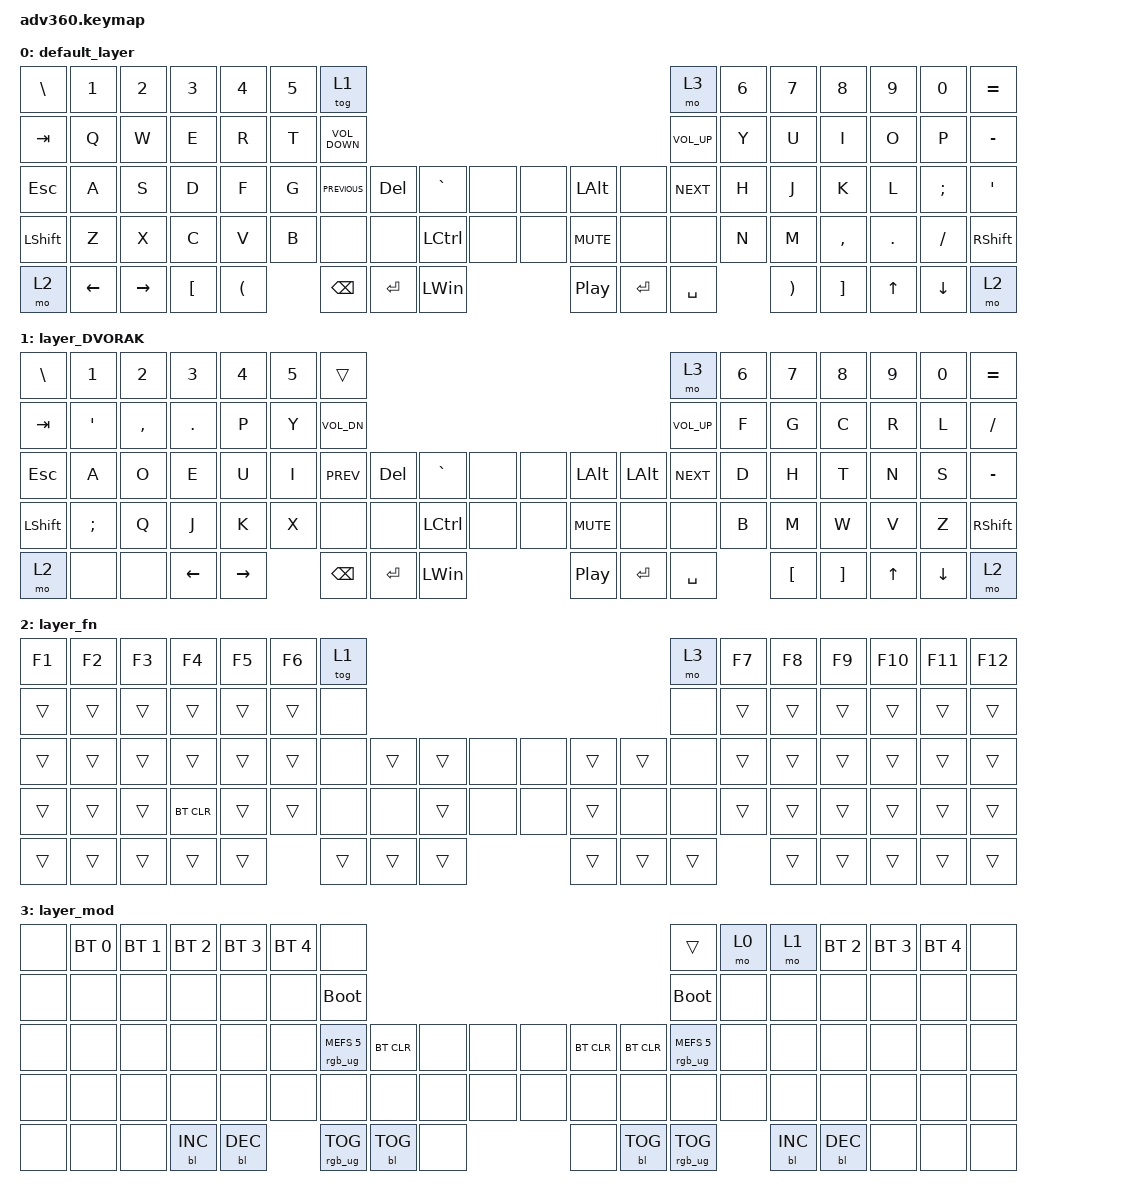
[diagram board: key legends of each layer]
/*
 * Copyright (c) 2020 The ZMK Contributors
 *
 * SPDX-License-Identifier: MIT
 */
/* THIS FILE WAS GENERATED!
 *
 * This file was generated automatically. You may or may not want to
 * edit it directly.
 */

#include <behaviors.dtsi>
#include <dt-bindings/zmk/backlight.h>
#include <dt-bindings/zmk/bt.h>
#include <dt-bindings/zmk/keys.h>
#include <dt-bindings/zmk/rgb.h>

/ {
    behaviors {
        #include "macros.dtsi"

        hm: homerow_mods {
            compatible = "zmk,behavior-hold-tap";
            label = "HOMEROW_MODS";
            #binding-cells = <2>;
            tapping-term-ms = <200>;
            quick_tap_ms = <175>;
            flavor = "tap-preferred";
            bindings = <&kp>, <&kp>;
        };
    };

    keymap {
        compatible = "zmk,keymap";

        default_layer {
            bindings = <
&kp BACKSLASH  &kp N1          &kp N2           &kp N3            &kp N4                &kp N5  &tog 1                                                                                 &mo 3         &kp N6  &kp N7                 &kp N8     &kp N9   &kp N0    &kp EQUAL
&kp TAB        &kp Q           &kp W            &kp E             &kp R                 &kp T   &kp C_VOLUME_DOWN                                                                      &kp C_VOL_UP  &kp Y   &kp U                  &kp I      &kp O    &kp P     &kp MINUS
&kp ESC        &kp A           &kp S            &kp D             &kp F                 &kp G   &kp C_PREVIOUS     &kp DEL    &kp GRAVE     &none  &none  &kp LALT          &none      &kp C_NEXT    &kp H   &kp J                  &kp K      &kp L    &kp SEMI  &kp SQT
&kp LSHFT      &kp Z           &kp X            &kp C             &kp V                 &kp B   &none              &none      &kp LCTRL     &none  &none  &kp C_MUTE        &none      &none         &kp N   &kp M                  &kp COMMA  &kp DOT  &kp FSLH  &kp RSHFT
&mo 2          &kp LEFT_ARROW  &kp RIGHT_ARROW  &kp LEFT_BRACKET  &kp LEFT_PARENTHESIS          &kp BSPC           &kp ENTER  &kp LEFT_WIN                &kp C_PLAY_PAUSE  &kp ENTER  &kp SPACE             &kp RIGHT_PARENTHESIS  &kp RBKT   &kp UP   &kp DOWN  &mo 2
            >;
        };

        layer_DVORAK {
            bindings = <
&kp BSLH   &kp N1    &kp N2     &kp N3          &kp N4     &kp N5  &trans                                                                      &mo 3         &kp N6  &kp N7    &kp N8    &kp N9  &kp N0    &kp EQUAL
&kp TAB    &kp SQT   &kp COMMA  &kp DOT         &kp P      &kp Y   &kp C_VOL_DN                                                                &kp C_VOL_UP  &kp F   &kp G     &kp C     &kp R   &kp L     &kp FSLH
&kp ESC    &kp A     &kp O      &kp E           &kp U      &kp I   &kp C_PREV    &kp DEL    &kp GRAVE     &none  &none  &kp LALT    &kp LALT   &kp C_NEXT    &kp D   &kp H     &kp T     &kp N   &kp S     &kp MINUS
&kp LSHFT  &kp SEMI  &kp Q      &kp J           &kp K      &kp X   &none         &none      &kp LCTRL     &none  &none  &kp C_MUTE  &none      &none         &kp B   &kp M     &kp W     &kp V   &kp Z     &kp RSHFT
&mo 2      &none     &none      &kp LEFT_ARROW  &kp RIGHT          &kp BSPC      &kp ENTER  &kp LEFT_WIN                &kp C_PP    &kp ENTER  &kp SPACE             &kp LBKT  &kp RBKT  &kp UP  &kp DOWN  &mo 2
            >;
        };

        layer_fn {
            bindings = <
&kp F1  &kp F2  &kp F3  &kp F4      &kp F5  &kp F6  &tog 1                                                &mo 3   &kp F7  &kp F8  &kp F9  &kp F10  &kp F11  &kp F12
&trans  &trans  &trans  &trans      &trans  &trans  &none                                                 &none   &trans  &trans  &trans  &trans   &trans   &trans
&trans  &trans  &trans  &trans      &trans  &trans  &none   &trans  &trans  &none  &none  &trans  &trans  &none   &trans  &trans  &trans  &trans   &trans   &trans
&trans  &trans  &trans  &bt BT_CLR  &trans  &trans  &none   &none   &trans  &none  &none  &trans  &none   &none   &trans  &trans  &trans  &trans   &trans   &trans
&trans  &trans  &trans  &trans      &trans          &trans  &trans  &trans                &trans  &trans  &trans          &trans  &trans  &trans   &trans   &trans
            >;
        };

        layer_mod {
            bindings = <
&none  &bt BT_SEL 0  &bt BT_SEL 1  &bt BT_SEL 2  &bt BT_SEL 3  &bt BT_SEL 4  &none                                                                            &trans                  &mo 0  &mo 1       &bt BT_SEL 2  &bt BT_SEL 3  &bt BT_SEL 4  &none
&none  &none         &none         &none         &none         &none         &bootloader                                                                      &bootloader             &none  &none       &none         &none         &none         &none
&none  &none         &none         &none         &none         &none         &rgb_ug RGB_MEFS_CMD 5  &bt BT_CLR  &none  &none  &none  &bt BT_CLR  &bt BT_CLR  &rgb_ug RGB_MEFS_CMD 5  &none  &none       &none         &none         &none         &none
&none  &none         &none         &none         &none         &none         &none                   &none       &none  &none  &none  &none       &none       &none                   &none  &none       &none         &none         &none         &none
&none  &none         &none         &bl BL_INC    &bl BL_DEC                  &rgb_ug RGB_TOG         &bl BL_TOG  &none                &none       &bl BL_TOG  &rgb_ug RGB_TOG                &bl BL_INC  &bl BL_DEC    &none         &none         &none
            >;
        };
    };
};
